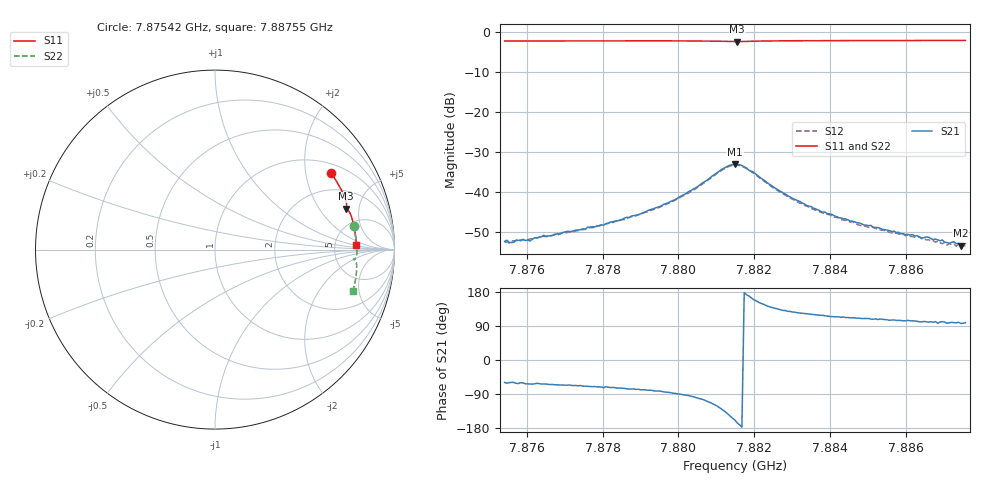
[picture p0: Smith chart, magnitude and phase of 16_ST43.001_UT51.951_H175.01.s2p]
#  HZ  S  DB  R  50.00
! Rohde & Schwarz Vector Network Analyzer
! Rohde-Schwarz,ZNB20-2Port,1311601062101988,3.16
! Created: UTC 1/12/2023, 6:30:16 PM
! freq[Hz]  db:S11  ang:S11  db:S21  ang:S21  db:S12  ang:S12  db:S22  ang:S22
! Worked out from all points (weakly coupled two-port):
!   201 points, 7.87542 GHz to 7.88755 GHz, reference 50 ohm
!   highest |S21| = -33.02 dB at 7.88149 GHz (marker M1); lowest = -53.4 dB at 7.88743 GHz (marker M2)
!   lowest |S11| = -2.4 dB at 7.88155 GHz (marker M3), VSWR 7.40, Z = 166 + j180 ohm
!   |S11| at or under -10 dB: nowhere
!   |S22| runs from -2.2 to -1.9 dB; largest |S21 - S12| = 0.0019
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7.875422e9  -2.22 33.4  -52.34 -59.2  -52.59 -63.7  -2.13 9.6
7.876089e9  -2.21 31.6  -52.24 -63.5  -51.73 -65.3  -2.11 8.0
7.876453e9  -2.20 30.6  -50.81 -63.6  -51.10 -66.7  -2.09 7.1
7.876514e9  -2.20 30.4  -51.17 -63.4  -51.03 -67.9  -2.09 7.0
7.877484e9  -2.19 27.8  -49.20 -68.9  -49.41 -72.0  -2.07 4.7
7.87803e9  -2.18 26.3  -48.28 -73.2  -48.20 -76.3  -2.05 3.5
7.879486e9  -2.18 22.3  -43.69 -81.8  -43.88 -86.3  -2.04 0.0
7.880456e9  -2.20 19.5  -38.92 -99.3  -39.14 -102.0  -2.06 -2.4
7.881245e9  -2.33 17.5  -33.78 -137.7  -33.95 -141.2  -2.19 -4.0
7.881488e9  -2.36 17.4  -33.02 -158.6  -33.28 -163.3  -2.23 -4.0
7.881548e9  -2.36 17.4  -33.17 -166.4  -33.28 -168.9  -2.23 -4.0
7.881973e9  -2.27 16.9  -35.02 159.5  -35.29 156.6  -2.14 -4.2
7.882883e9  -2.15 14.4  -40.96 128.3  -41.16 125.2  -2.00 -6.3
7.88355e9  -2.12 12.5  -44.01 119.8  -44.33 116.2  -1.97 -7.9
7.88452e9  -2.11 9.8  -47.26 111.1  -47.51 107.8  -1.95 -10.2
7.885551e9  -2.09 7.1  -49.62 104.9  -50.10 102.9  -1.93 -12.4
7.88634e9  -2.08 5.1  -51.18 100.9  -51.17 99.0  -1.93 -14.2
7.886946e9  -2.08 3.5  -51.99 101.3  -52.93 96.4  -1.92 -15.5
7.887128e9  -2.07 3.0  -52.81 98.4  -52.92 98.8  -1.92 -15.9
7.88725e9  -2.08 2.7  -52.41 98.6  -52.99 96.0  -1.92 -16.1
7.887432e9  -2.07 2.2  -53.45 96.6  -53.29 96.3  -1.92 -16.6
7.887553e9  -2.08 1.9  -52.92 98.2  -53.51 94.5  -1.92 -16.8
